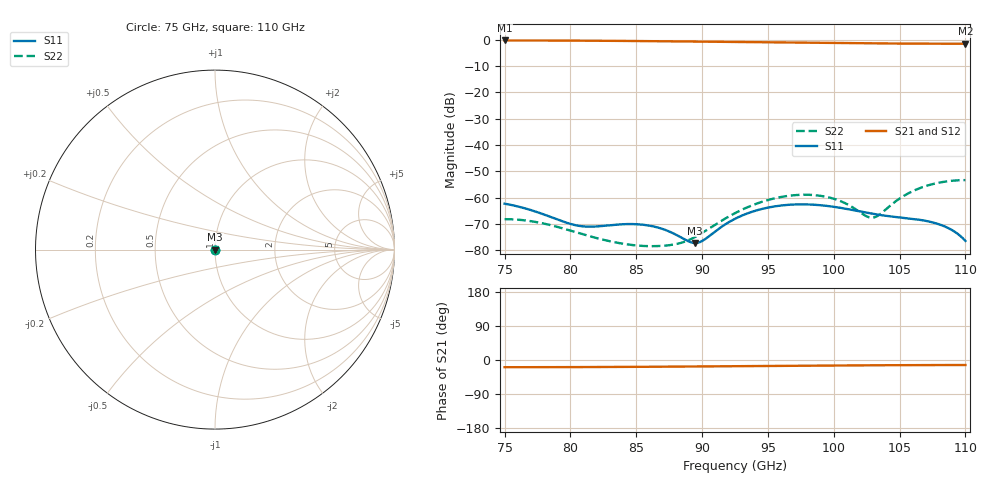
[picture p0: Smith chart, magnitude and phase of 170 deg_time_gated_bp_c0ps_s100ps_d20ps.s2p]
# Hz S RI R 50.000000
! Metas.Vna.Tools, 2.4.7724.19584
! Metas.Vna.Data, 2.4.7724.19560
! Created: UTC 2021.04.29 12:40:11
! FREQ  re:S1,1  im:S1,1  re:S2,1  im:S2,1  re:S1,2  im:S1,2  re:S2,2  im:S2,2
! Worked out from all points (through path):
!   1401 points, 75 GHz to 110 GHz, reference 50 ohm
!   highest |S21| = -0.25 dB at 75 GHz (marker M1); lowest = -1.5 dB at 110 GHz (marker M2)
!   lowest |S11| = -77.2 dB at 89.47 GHz (marker M3), VSWR 1.00, Z = 50 + j0.00511 ohm
!   |S11| at or under -10 dB: start of sweep to end of sweep
!   |S22| runs from -78.4 to -53.3 dB; largest |S21 - S12| = 0.046
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7.5e10  0.000183 -0.000745  0.919 -0.3169  0.9079 -0.3471  -0.000343 -0.000186
7.76e10  -7.97e-05 -0.000512  0.9177 -0.3153  0.9068 -0.3454  -0.000282 -0.000183
8.085e10  -0.000273 -8.86e-05  0.9128 -0.3089  0.9024 -0.3389  -0.000125 -0.000162
8.4075e10  -0.000214 0.000229  0.9046 -0.2982  0.8947 -0.3284  -4.5e-05 -0.000124
8.545e10  -0.00013 0.000278  0.9001 -0.2925  0.8906 -0.3228  -4.17e-05 -0.000114
8.6675e10  -4.48e-05 0.000265  0.8958 -0.2869  0.8865 -0.3175  -3.81e-05 -0.000114
8.82e10  5.82e-05 0.000178  0.8899 -0.2795  0.881 -0.3105  -8.09e-06 -0.000134
8.9475e10  0.000128 5.1e-05  0.8847 -0.2729  0.876 -0.3044  5.76e-05 -0.00017
9.01e10  0.000153 -2.44e-05  0.8821 -0.2696  0.8735 -0.3014  0.000107 -0.000193
9.25e10  0.000186 -0.00035  0.8715 -0.2564  0.8632 -0.2897  0.000403 -0.000308
9.39e10  0.000156 -0.000527  0.8653 -0.2487  0.8571 -0.2829  0.000628 -0.000374
9.545e10  8.89e-05 -0.000673  0.8584 -0.2402  0.8502 -0.2757  0.000868 -0.000419
9.6925e10  4.26e-07 -0.00074  0.852 -0.2323  0.8438 -0.2692  0.00103 -0.000411
9.835e10  -9.66e-05 -0.000731  0.846 -0.2251  0.8379 -0.2633  0.00107 -0.000338
1.00425e11  -0.000236 -0.000601  0.8381 -0.2155  0.8298 -0.2556  0.000871 -0.000101
1.02775e11  -0.000357 -0.000355  0.8305 -0.2063  0.8219 -0.2484  0.000259 0.000328
1.03325e11  -0.000375 -0.000294  0.8289 -0.2045  0.8203 -0.247  7.3e-05 0.000444
1.04175e11  -0.000395 -0.000205  0.8268 -0.2019  0.8181 -0.245  -0.000231 0.000625
1.054e11  -0.0004 -9.63e-05  0.8241 -0.1987  0.8153 -0.2426  -0.000676 0.000879
1.0675e11  -0.000371 -1.37e-05  0.8218 -0.196  0.813 -0.2406  -0.00112 0.00112
1.086e11  -0.00027 2.49e-05  0.82 -0.1938  0.811 -0.2389  -0.00153 0.00135
1.1e11  -0.00015 1.48e-06  0.8195 -0.1933  0.8106 -0.2386  -0.00164 0.0014
